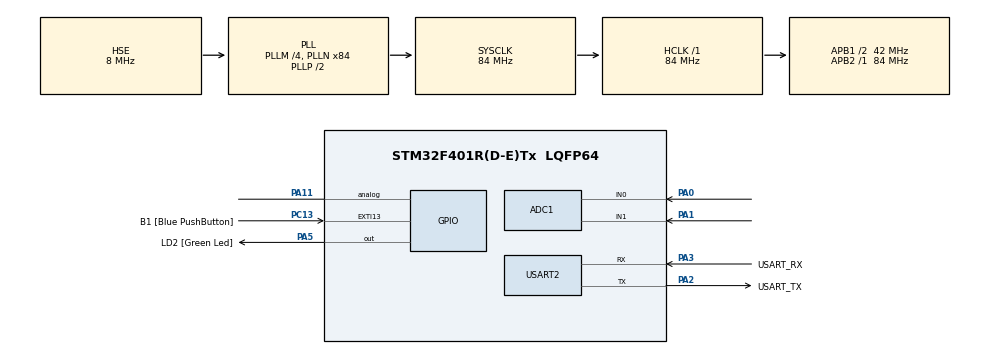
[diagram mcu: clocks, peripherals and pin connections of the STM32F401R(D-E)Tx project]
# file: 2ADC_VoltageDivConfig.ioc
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ADC1.Channel-0\#ChannelRegularConversion=ADC_CHANNEL_0
ADC1.Channel-1\#ChannelRegularConversion=ADC_CHANNEL_1
ADC1.NbrOfConversion=2
ADC1.NbrOfConversionFlag=1
ADC1.Rank-0\#ChannelRegularConversion=1
ADC1.Rank-1\#ChannelRegularConversion=2
ADC1.SamplingTime-0\#ChannelRegularConversion=ADC_SAMPLETIME_15CYCLES
ADC1.SamplingTime-1\#ChannelRegularConversion=ADC_SAMPLETIME_15CYCLES
ADC1.ScanConvMode=ENABLE
ADC1.master=1
Mcu.Family=STM32F4
Mcu.Name=STM32F401R(D-E)Tx
Mcu.Package=LQFP64
NVIC.ADC_IRQn=true\:0\:0\:false\:false\:true\:true\:true\:true
NVIC.PriorityGroup=NVIC_PRIORITYGROUP_4
NVIC.USART2_IRQn=true\:0\:0\:false\:false\:true\:true\:true\:true
PA0-WKUP.Signal=ADCx_IN0
PA1.Signal=ADCx_IN1
PA11.Signal=GPIO_Analog
PA13.GPIO_Label=TMS
PA13.Mode=Trace_Asynchronous_SW
PA13.Signal=SYS_JTMS-SWDIO
PA14.GPIO_Label=TCK
PA14.Mode=Trace_Asynchronous_SW
PA14.Signal=SYS_JTCK-SWCLK
PA2.GPIO_Label=USART_TX
PA2.GPIO_Mode=GPIO_MODE_AF_PP
PA2.GPIO_PuPd=GPIO_NOPULL
PA2.GPIO_Speed=GPIO_SPEED_FREQ_LOW
PA2.Mode=Asynchronous
PA2.Signal=USART2_TX
PA3.GPIO_Label=USART_RX
PA3.GPIO_Mode=GPIO_MODE_AF_PP
PA3.GPIO_PuPd=GPIO_NOPULL
PA3.GPIO_Speed=GPIO_SPEED_FREQ_LOW
PA3.Mode=Asynchronous
PA3.Signal=USART2_RX
PA5.GPIO_Label=LD2 [Green Led]
PA5.GPIO_Mode=GPIO_MODE_OUTPUT_PP
PA5.GPIO_PuPd=GPIO_NOPULL
PA5.GPIO_Speed=GPIO_SPEED_FREQ_LOW
PA5.Signal=GPIO_Output
PB3.GPIO_Label=SWO
PB3.Mode=Trace_Asynchronous_SW
PB3.Signal=SYS_JTDO-SWO
PC13-ANTI_TAMP.GPIO_Label=B1 [Blue PushButton]
PC13-ANTI_TAMP.GPIO_ModeDefaultEXTI=GPIO_MODE_IT_FALLING
PC13-ANTI_TAMP.GPIO_PuPd=GPIO_NOPULL
PC13-ANTI_TAMP.Signal=GPXTI13
PC14-OSC32_IN.Mode=LSE-External-Oscillator
PC14-OSC32_IN.Signal=RCC_OSC32_IN
PC15-OSC32_OUT.Mode=LSE-External-Oscillator
PC15-OSC32_OUT.Signal=RCC_OSC32_OUT
PH0\ -\ OSC_IN.Mode=HSE-External-Oscillator
PH0\ -\ OSC_IN.Signal=RCC_OSC_IN
PH1\ -\ OSC_OUT.Mode=HSE-External-Oscillator
PH1\ -\ OSC_OUT.Signal=RCC_OSC_OUT
ProjectManager.HeapSize=0x200
ProjectManager.StackSize=0x400
ProjectManager.TargetToolchain=STM32CubeIDE
RCC.48MHZClocksFreq_Value=24000000
RCC.AHBFreq_Value=84000000
RCC.APB1CLKDivider=RCC_HCLK_DIV2
RCC.APB1Freq_Value=42000000
RCC.APB1TimFreq_Value=84000000
RCC.APB2Freq_Value=84000000
RCC.APB2TimFreq_Value=84000000
RCC.CortexFreq_Value=84000000
RCC.HCLKFreq_Value=84000000
RCC.HSE_VALUE=8000000
RCC.HSI_VALUE=16000000
RCC.PLLM=4
RCC.PLLN=84
RCC.PLLQ=7
RCC.PLLSourceVirtual=RCC_PLLSOURCE_HSE
RCC.SYSCLKFreq_VALUE=84000000
RCC.SYSCLKSource=RCC_SYSCLKSOURCE_PLLCLK
RCC.VCOOutputFreq_Value=168000000
SH.ADCx_IN0.0=ADC1_IN0,IN0
SH.ADCx_IN1.0=ADC1_IN1,IN1
USART2.VirtualMode=VM_ASYNC
board=NUCLEO-F401RE

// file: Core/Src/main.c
/* USER CODE BEGIN Header */
/**
  ******************************************************************************
  * @file           : main.c
  * @brief          : Main program body
  ******************************************************************************
  * @attention
  *
  * Copyright (c) 2025 STMicroelectronics.
  * All rights reserved.
  *
  * This software is licensed under terms that can be found in the LICENSE file
  * in the root directory of this software component.
  * If no LICENSE file comes with this software, it is provided AS-IS.
  *
  ******************************************************************************

  /**
  ******************************************************************************
  * @file           : main.c
  * @brief          : Main program body for ADC voltage averaging and UART transmission
  ******************************************************************************
  * Description:
  * This program continuously reads analog voltages from two ADC channels,
  * averages 1024 samples for each channel, and transmits the average voltage
  * values over UART (USART2) every 200ms. GPIO PA11 is set HIGH at startup.
  *
  * Board: STM32F4 Series (e.g., Nucleo-F401RE or similar)
  ******************************************************************************

  */
/* USER CODE END Header */
#include "main.h"

/* USER CODE BEGIN Includes */
#include "string.h"
#include "stdio.h"
#include "stdbool.h"
/* USER CODE END Includes */

ADC_HandleTypeDef hadc1;

UART_HandleTypeDef huart2;

/* USER CODE BEGIN PV */
float avg = 0;
/* USER CODE END PV */

void SystemClock_Config(void);
static void MX_GPIO_Init(void);
static void MX_USART2_UART_Init(void);
static void MX_ADC1_Init(void);

int main(void)
{

  /* MCU Configuration--------------------------------------------------------*/

  /* Reset of all peripherals, Initializes the Flash interface and the Systick. */
  HAL_Init();

  /* Configure the system clock */
  SystemClock_Config();

  /* Initialize all configured peripherals */
  MX_GPIO_Init();
  MX_USART2_UART_Init();
  MX_ADC1_Init();
  /* USER CODE BEGIN 2 */
  //float buffer1[1024] = {0}, buffer2[1024] = {0};
  //uint16_t index = 0;
  //bool buffer_full = false;
  char tx_buffer[64];
  HAL_GPIO_WritePin(GPIOA, GPIO_PIN_11, GPIO_PIN_SET);  // PA11'i HIGH yap (3.3V)

  /* USER CODE END 2 */

  /* Infinite loop */
  while (1)
  {

    /* USER CODE BEGIN 3 */
	  uint16_t readValue1=0, readValue2=0;
	  float voltage1=0, voltage2=0;
	  float total1 = 0, total2 = 0;

	  for (uint16_t i = 0; i < 1024; i++)
	      {
	          HAL_ADC_Start(&hadc1);

	          HAL_ADC_PollForConversion(&hadc1, HAL_MAX_DELAY);
	          readValue1 = HAL_ADC_GetValue(&hadc1);  // Kanal 0

	          HAL_ADC_PollForConversion(&hadc1, HAL_MAX_DELAY);
	          readValue2 = HAL_ADC_GetValue(&hadc1);  // Kanal 1

	          HAL_ADC_Stop(&hadc1);

	          voltage1 = (readValue1 * 3.3f) / 4096.0f;
	          voltage2 = (readValue2 * 3.3f) / 4096.0f;

	          total1 += voltage1;
	          total2 += voltage2;

	          HAL_Delay(1); // İstersen bu süreyi azaltabilirsin (örneğin 0.5ms)
	      }

	      float avg1 = total1 / 1024.0f;
	      float avg2 = total2 / 1024.0f;

	      sprintf(tx_buffer, "\r\n Avg1 = %.3f V, Avg2 = %.3f V\r\n", avg1, avg2);
	      HAL_UART_Transmit(&huart2, (uint8_t *)tx_buffer, strlen(tx_buffer), HAL_MAX_DELAY);

	      HAL_Delay(200);  // Her bloktan sonra yarım saniye bekle
  }
  /* USER CODE END 3 */
}

void SystemClock_Config(void)
{
  RCC_OscInitTypeDef RCC_OscInitStruct = {0};
  RCC_ClkInitTypeDef RCC_ClkInitStruct = {0};

  /** Configure the main internal regulator output voltage
  */
  __HAL_RCC_PWR_CLK_ENABLE();
  __HAL_PWR_VOLTAGESCALING_CONFIG(PWR_REGULATOR_VOLTAGE_SCALE2);

  /** Initializes the RCC Oscillators according to the specified parameters
  * in the RCC_OscInitTypeDef structure.
  */
  RCC_OscInitStruct.OscillatorType = RCC_OSCILLATORTYPE_HSE;
  RCC_OscInitStruct.HSEState = RCC_HSE_ON;
  RCC_OscInitStruct.PLL.PLLState = RCC_PLL_ON;
  RCC_OscInitStruct.PLL.PLLSource = RCC_PLLSOURCE_HSE;
  RCC_OscInitStruct.PLL.PLLM = 4;
  RCC_OscInitStruct.PLL.PLLN = 84;
  RCC_OscInitStruct.PLL.PLLP = RCC_PLLP_DIV2;
  RCC_OscInitStruct.PLL.PLLQ = 7;
  if (HAL_RCC_OscConfig(&RCC_OscInitStruct) != HAL_OK)
  {
    Error_Handler();
  }

  /** Initializes the CPU, AHB and APB buses clocks
  */
  RCC_ClkInitStruct.ClockType = RCC_CLOCKTYPE_HCLK|RCC_CLOCKTYPE_SYSCLK
                              |RCC_CLOCKTYPE_PCLK1|RCC_CLOCKTYPE_PCLK2;
  RCC_ClkInitStruct.SYSCLKSource = RCC_SYSCLKSOURCE_PLLCLK;
  RCC_ClkInitStruct.AHBCLKDivider = RCC_SYSCLK_DIV1;
  RCC_ClkInitStruct.APB1CLKDivider = RCC_HCLK_DIV2;
  RCC_ClkInitStruct.APB2CLKDivider = RCC_HCLK_DIV1;

  if (HAL_RCC_ClockConfig(&RCC_ClkInitStruct, FLASH_LATENCY_2) != HAL_OK)
  {
    Error_Handler();
  }
}

static void MX_ADC1_Init(void)
{

  ADC_ChannelConfTypeDef sConfig = {0};

  /** Configure the global features of the ADC (Clock, Resolution, Data Alignment and number of conversion)
  */
  hadc1.Instance = ADC1;
  hadc1.Init.ClockPrescaler = ADC_CLOCK_SYNC_PCLK_DIV4;
  hadc1.Init.Resolution = ADC_RESOLUTION_12B;
  hadc1.Init.ScanConvMode = ENABLE;
  hadc1.Init.ContinuousConvMode = DISABLE;
  hadc1.Init.DiscontinuousConvMode = DISABLE;
  hadc1.Init.ExternalTrigConvEdge = ADC_EXTERNALTRIGCONVEDGE_NONE;
  hadc1.Init.ExternalTrigConv = ADC_SOFTWARE_START;
  hadc1.Init.DataAlign = ADC_DATAALIGN_RIGHT;
  hadc1.Init.NbrOfConversion = 2;
  hadc1.Init.DMAContinuousRequests = DISABLE;
  hadc1.Init.EOCSelection = ADC_EOC_SINGLE_CONV;
  if (HAL_ADC_Init(&hadc1) != HAL_OK)
  {
    Error_Handler();
  }

  /** Configure for the selected ADC regular channel its corresponding rank in the sequencer and its sample time.
  */
  sConfig.Channel = ADC_CHANNEL_0;
  sConfig.Rank = 1;
  sConfig.SamplingTime = ADC_SAMPLETIME_15CYCLES;
  if (HAL_ADC_ConfigChannel(&hadc1, &sConfig) != HAL_OK)
  {
    Error_Handler();
  }

  /** Configure for the selected ADC regular channel its corresponding rank in the sequencer and its sample time.
  */
  sConfig.Channel = ADC_CHANNEL_1;
  sConfig.Rank = 2;
  if (HAL_ADC_ConfigChannel(&hadc1, &sConfig) != HAL_OK)
  {
    Error_Handler();
  }

}

static void MX_USART2_UART_Init(void)
{

  huart2.Instance = USART2;
  huart2.Init.BaudRate = 115200;
  huart2.Init.WordLength = UART_WORDLENGTH_8B;
  huart2.Init.StopBits = UART_STOPBITS_1;
  huart2.Init.Parity = UART_PARITY_NONE;
  huart2.Init.Mode = UART_MODE_TX_RX;
  huart2.Init.HwFlowCtl = UART_HWCONTROL_NONE;
  huart2.Init.OverSampling = UART_OVERSAMPLING_16;
  if (HAL_UART_Init(&huart2) != HAL_OK)
  {
    Error_Handler();
  }

}

static void MX_GPIO_Init(void)
{
  GPIO_InitTypeDef GPIO_InitStruct = {0};

  /* GPIO Ports Clock Enable */
  __HAL_RCC_GPIOC_CLK_ENABLE();
  __HAL_RCC_GPIOH_CLK_ENABLE();
  __HAL_RCC_GPIOA_CLK_ENABLE();
  __HAL_RCC_GPIOB_CLK_ENABLE();

  /*Configure GPIO pin Output Level */
  HAL_GPIO_WritePin(LD2_GPIO_Port, LD2_Pin, GPIO_PIN_RESET);

  /*Configure GPIO pin : B1_Pin */
  GPIO_InitStruct.Pin = B1_Pin;
  GPIO_InitStruct.Mode = GPIO_MODE_IT_FALLING;
  GPIO_InitStruct.Pull = GPIO_NOPULL;
  HAL_GPIO_Init(B1_GPIO_Port, &GPIO_InitStruct);

  /*Configure GPIO pin : LD2_Pin */
  GPIO_InitStruct.Pin = LD2_Pin;
  GPIO_InitStruct.Mode = GPIO_MODE_OUTPUT_PP;
  GPIO_InitStruct.Pull = GPIO_NOPULL;
  GPIO_InitStruct.Speed = GPIO_SPEED_FREQ_LOW;
  HAL_GPIO_Init(LD2_GPIO_Port, &GPIO_InitStruct);

  /*Configure GPIO pin : PA11 */
  GPIO_InitStruct.Pin = GPIO_PIN_11;
  GPIO_InitStruct.Mode = GPIO_MODE_ANALOG;
  GPIO_InitStruct.Pull = GPIO_NOPULL;
  HAL_GPIO_Init(GPIOA, &GPIO_InitStruct);

}

void Error_Handler(void)
{
  __disable_irq();
  while (1)
  {
  }
}
